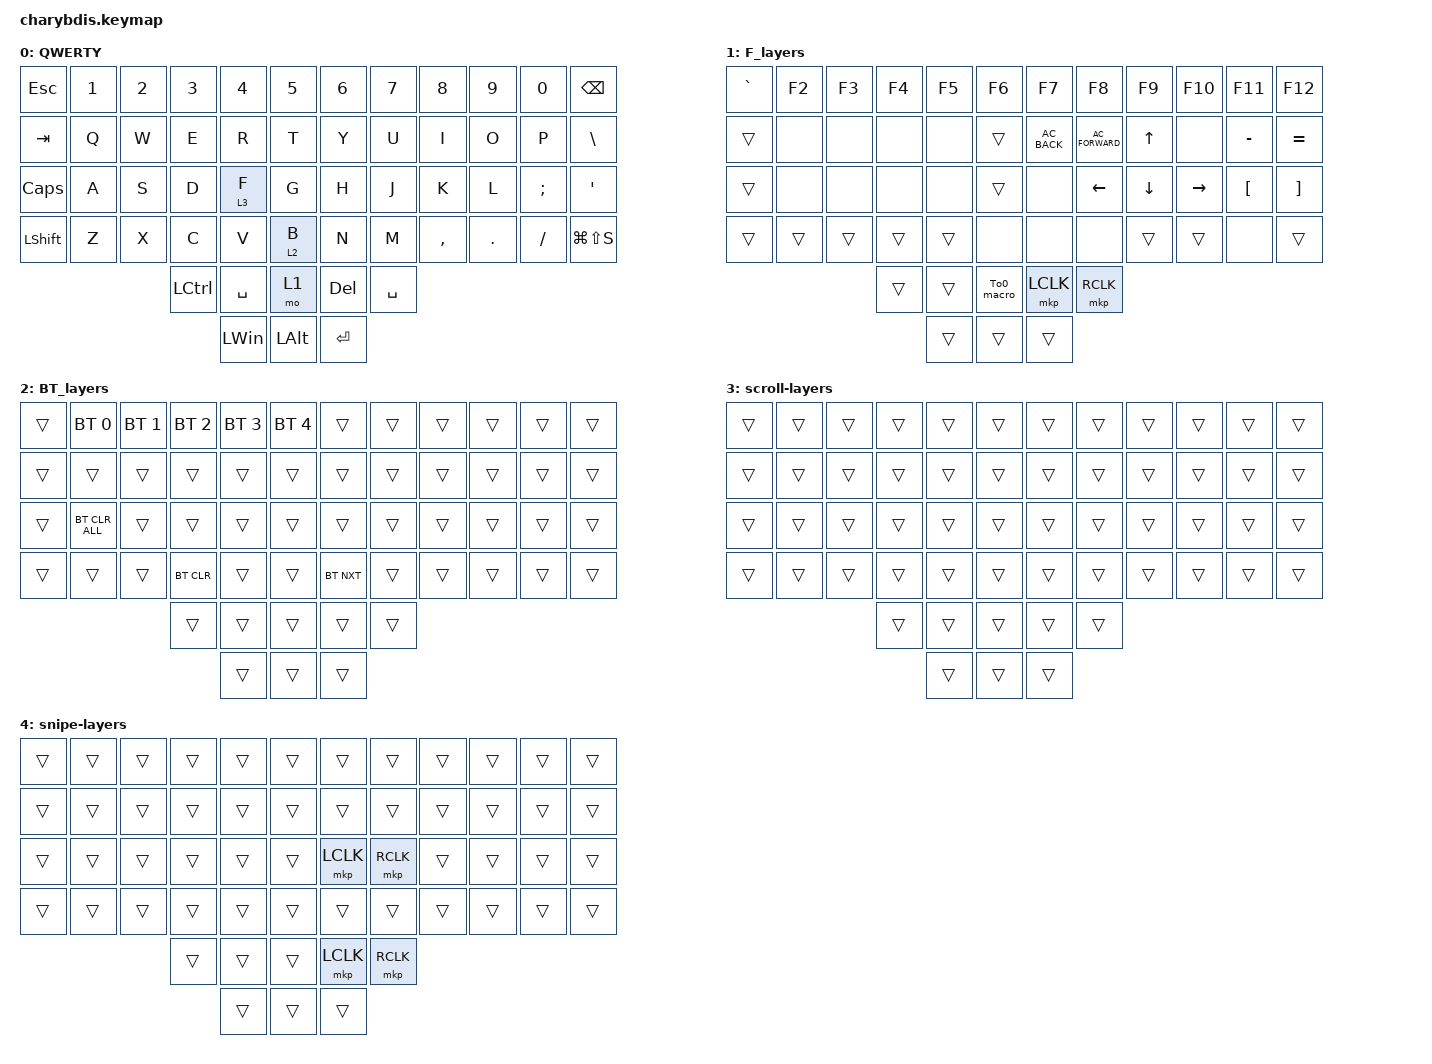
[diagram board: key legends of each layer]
#include <behaviors.dtsi>
#include <dt-bindings/zmk/bt.h>
#include <dt-bindings/zmk/keys.h>
#include <dt-bindings/zmk/pointing.h>
#include <dt-bindings/zmk/rgb.h>

&lt {
    tapping-term-ms = <200>;
    flavor = "balanced";
    quick-tap-ms = <150>;
};

/ {
    macros {
        screenshot: To1_macro {
            compatible = "zmk,behavior-macro";
            label = "To1_macro";
            #binding-cells = <0>;
            bindings = <&kp LEFT_GUI &kp LS(S) &none>;
        };

        To0_macro: To0_macro {
            compatible = "zmk,behavior-macro";
            label = "To0_macro";
            #binding-cells = <0>;
            bindings = <&rgb_ug RGB_EFR &to 0>;
        };

        To2_macro: To2_macro {
            compatible = "zmk,behavior-macro";
            label = "To2_macro";
            #binding-cells = <0>;
            bindings =
                <&to 2>,
                <&macro_wait_time 30>,
                <&rgb_ug RGB_COLOR_HSB(250,100,50)>;
        };
    };

    keymap {
        compatible = "zmk,keymap";

        QWERTY {
            bindings = <
&kp ESC         &kp N1  &kp N2  &kp N3            &kp N4        &kp N5          &kp N6      &kp N7     &kp N8     &kp N9   &kp N0    &kp BACKSPACE
&kp TAB         &kp Q   &kp W   &kp E             &kp R         &kp T           &kp Y       &kp U      &kp I      &kp O    &kp P     &kp BSLH
&kp CAPSLOCK    &kp A   &kp S   &kp D             &lt 3 F       &kp G           &kp H       &kp J      &kp K      &kp L    &kp SEMI  &kp SQT
&kp LEFT_SHIFT  &kp Z   &kp X   &kp C             &kp V         &lt 2 B         &kp N       &kp M      &kp COMMA  &kp DOT  &kp FSLH  &kp LG(LS(S))
                                &kp LEFT_CONTROL  &kp SPACE     &mo 1           &kp DELETE  &kp SPACE
                                                  &kp LEFT_WIN  &kp LEFT_ALT    &kp ENTER
            >;
        };

        F_layers {
            bindings = <
&kp GRAVE  &kp F2  &kp F3  &kp F4  &kp F5  &kp F6        &kp F7         &kp F8            &kp F9          &kp F10          &kp F11           &kp F12
&trans     &none   &none   &none   &none   &trans        &kp C_AC_BACK  &kp C_AC_FORWARD  &kp UP_ARROW    &none            &kp MINUS         &kp EQUAL
&trans     &none   &none   &none   &none   &trans        &none          &kp LEFT_ARROW    &kp DOWN_ARROW  &kp RIGHT_ARROW  &kp LEFT_BRACKET  &kp RIGHT_BRACKET
&trans     &trans  &trans  &trans  &trans  &none         &none          &none             &trans          &trans           &none             &trans
                           &trans  &trans  &To0_macro    &mkp LCLK      &mkp RCLK
                                   &trans  &trans        &trans
            >;
        };

        BT_layers {
            bindings = <
&trans  &bt BT_SEL 0    &bt BT_SEL 1  &bt BT_SEL 2  &bt BT_SEL 3  &bt BT_SEL 4    &trans      &trans  &trans  &trans  &trans  &trans
&trans  &trans          &trans        &trans        &trans        &trans          &trans      &trans  &trans  &trans  &trans  &trans
&trans  &bt BT_CLR_ALL  &trans        &trans        &trans        &trans          &trans      &trans  &trans  &trans  &trans  &trans
&trans  &trans          &trans        &bt BT_CLR    &trans        &trans          &bt BT_NXT  &trans  &trans  &trans  &trans  &trans
                                      &trans        &trans        &trans          &trans      &trans
                                                    &trans        &trans          &trans
            >;
        };

        scroll-layers {
            bindings = <
&trans  &trans  &trans  &trans  &trans  &trans    &trans  &trans  &trans  &trans  &trans  &trans
&trans  &trans  &trans  &trans  &trans  &trans    &trans  &trans  &trans  &trans  &trans  &trans
&trans  &trans  &trans  &trans  &trans  &trans    &trans  &trans  &trans  &trans  &trans  &trans
&trans  &trans  &trans  &trans  &trans  &trans    &trans  &trans  &trans  &trans  &trans  &trans
                        &trans  &trans  &trans    &trans  &trans
                                &trans  &trans    &trans
            >;
        };

        snipe-layers {
            bindings = <
&trans  &trans  &trans  &trans  &trans  &trans    &trans     &trans     &trans  &trans  &trans  &trans
&trans  &trans  &trans  &trans  &trans  &trans    &trans     &trans     &trans  &trans  &trans  &trans
&trans  &trans  &trans  &trans  &trans  &trans    &mkp LCLK  &mkp RCLK  &trans  &trans  &trans  &trans
&trans  &trans  &trans  &trans  &trans  &trans    &trans     &trans     &trans  &trans  &trans  &trans
                        &trans  &trans  &trans    &mkp LCLK  &mkp RCLK
                                &trans  &trans    &trans
            >;
        };
    };
};
